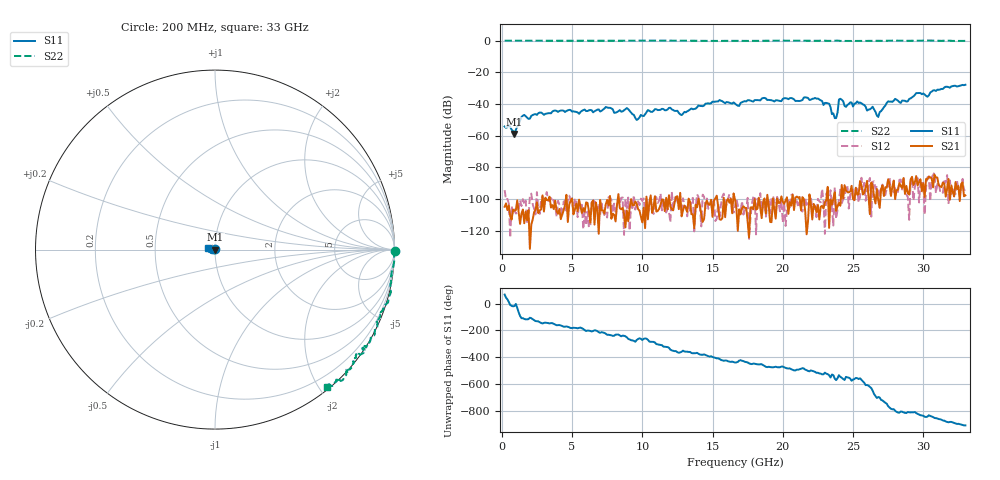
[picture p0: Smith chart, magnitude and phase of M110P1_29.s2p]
# GHZ S RI R 50
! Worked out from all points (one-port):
!   329 points, 200 MHz to 33 GHz, reference 50 ohm
!   lowest |S11| = -58.9 dB at 900 MHz (marker M1), VSWR 1.00, Z = 50.1 - j0.0356 ohm
!   |S11| at or under -10 dB: start of sweep to end of sweep
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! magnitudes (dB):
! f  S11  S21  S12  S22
! 200 MHz  -54.2  -105.0  -94.4  0.0
! 900 MHz  -58.9  -107.5  -106.7  0.0
! 1.6 GHz  -46.9  -115.4  -103.3  0.0
! 5.7 GHz  -44.4  -108.9  -103.6  -0.1
! 8.9 GHz  -42.6  -107.3  -105.7  0.0
! 9.6 GHz  -50.1  -102.8  -102.9  0.0
! 11.2 GHz  -43.8  -106.2  -101.0  0.0
! 12.8 GHz  -47.0  -111.0  -108.5  0.0
! 15.5 GHz  -37.5  -112.9  -111.1  -0.1
! 16.6 GHz  -39.8  -100.3  -105.1  -0.2
! 22.1 GHz  -36.8  -113.0  -105.8  0.0
! 23.3 GHz  -39.8  -118.2  -105.6  -0.1
! 23.7 GHz  -48.9  -95.8  -92.7  0.0
! 23.8 GHz  -48.9  -107.6  -112.6  0.0
! 24.1 GHz  -36.7  -104.3  -94.0  -0.1
! 24.5 GHz  -41.8  -94.7  -93.1  -0.1
! 25.3 GHz  -38.4  -97.3  -93.7  -0.2
! 26 GHz  -44.1  -88.6  -94.7  -0.1
! 26.4 GHz  -41.7  -91.5  -89.3  -0.1
! 26.8 GHz  -48.2  -101.2  -93.1  -0.1
! 27.6 GHz  -38.5  -90.6  -86.5  0.0
! 33 GHz  -27.9  -97.7  -94.4  -0.1
